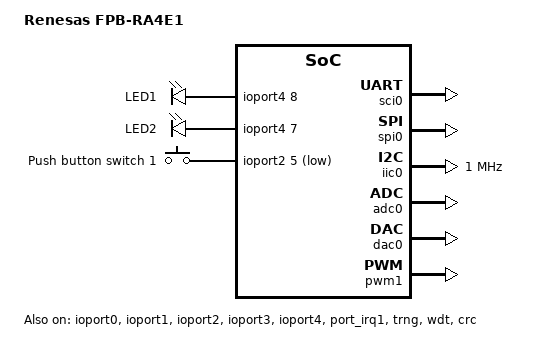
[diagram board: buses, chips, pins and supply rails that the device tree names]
/*
 * Copyright (c) 2025 Renesas Electronics Corporation
 * SPDX-License-Identifier: Apache-2.0
 */

/dts-v1/;

#include <renesas/ra/ra4/r7fa4e10d2cfm.dtsi>
#include <dt-bindings/gpio/gpio.h>
#include <dt-bindings/input/input-event-codes.h>
#include <zephyr/dt-bindings/adc/adc.h>
#include "fpb_ra4e1-pinctrl.dtsi"

/ {
	model = "Renesas FPB-RA4E1";
	compatible = "renesas,ra4e1", "renesas,ra";

	chosen {
		zephyr,sram = &sram0;
		zephyr,flash-controller = &flash1;
		zephyr,flash = &flash0;
		zephyr,console = &uart0;
		zephyr,shell-uart = &uart0;
		zephyr,entropy = &trng;
		zephyr,crc = &crc;
	};

	leds {
		compatible = "gpio-leds";

		led1: led1 {
			gpios = <&ioport4 8 GPIO_ACTIVE_HIGH>;
			label = "LED1";
		};

		led2: led2 {
			gpios = <&ioport4 7 GPIO_ACTIVE_HIGH>;
			label = "LED2";
		};
	};

	buttons {
		compatible = "gpio-keys";

		button0: s1 {
			gpios = <&ioport2 5 (GPIO_PULL_UP | GPIO_ACTIVE_LOW)>;
			label = "Push button switch 1";
			zephyr,code = <INPUT_KEY_0>;
		};
	};

	aliases {
		led0 = &led1;
		sw0 = &button0;
		watchdog0 = &wdt;
	};
};

&subclk {
	status = "okay";
};

&pll {
	clocks = <&hoco>;
	div = <2>;
	mul = <20 0>;
	status = "okay";
};

&sci0 {
	pinctrl-0 = <&sci0_default>;
	pinctrl-names = "default";
	status = "okay";

	uart0: uart {
		current-speed = <115200>;
		status = "okay";
	};
};

&ioport0 {
	status = "okay";
};

&ioport1 {
	status = "okay";
};

&ioport2 {
	status = "okay";
};

&ioport3 {
	status = "okay";
};

&ioport4 {
	status = "okay";
};

&spi0 {
	pinctrl-0 = <&spi0_default>;
	pinctrl-names = "default";
	status = "okay";
};

&iic0 {
	status = "okay";
	#address-cells = <1>;
	#size-cells = <0>;
	interrupts = <91 1>, <92 1>, <93 1>, <94 1>;
	interrupt-names = "rxi", "txi", "tei", "eri";
	clock-frequency = <DT_FREQ_M(1)>;
	pinctrl-0 = <&iic0_default>;
	pinctrl-names = "default";
};

&adc0 {
	status = "okay";
	pinctrl-0 = <&adc0_default>;
	pinctrl-names = "default";
};

&dac0 {
	pinctrl-0 = <&dac0_default>;
	pinctrl-names = "default";
	status = "okay";
};

&port_irq1 {
	interrupts = <41 12>;
	status = "okay";
};

&pwm1 {
	pinctrl-0 = <&pwm1_default>;
	pinctrl-names = "default";
	interrupts = <63 1>, <64 1>;
	interrupt-names = "gtioca", "overflow";
	status = "okay";
};

&trng {
	status = "okay";
};

&flash1 {
	partitions {
		compatible = "fixed-partitions";
		#address-cells = <1>;
		#size-cells = <1>;

		storage_partition: partition@0 {
			label = "storage";
			reg = <0X0 DT_SIZE_K(8)>;
		};
	};
};

&wdt {
	status = "okay";
};

&crc {
	status = "okay";
};
